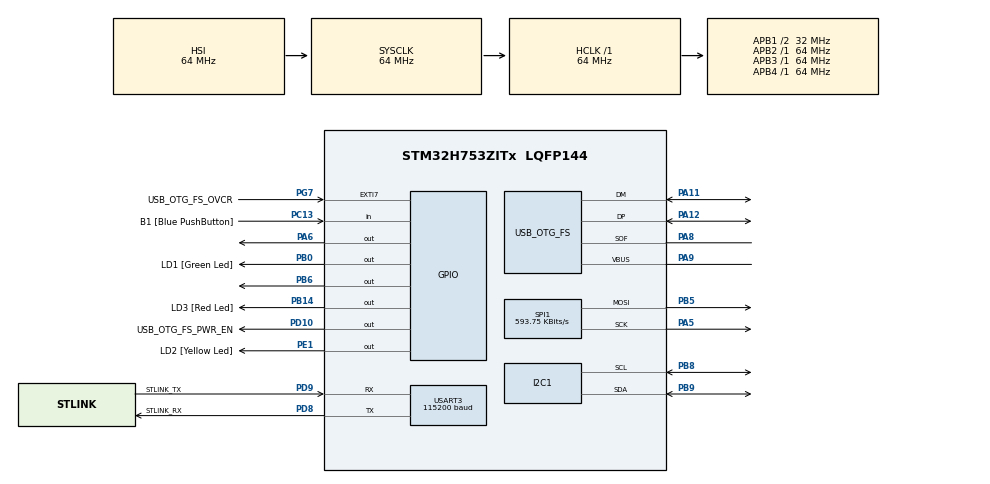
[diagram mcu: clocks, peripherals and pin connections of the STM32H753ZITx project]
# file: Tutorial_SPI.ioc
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CORTEX_M7.CPU_DCache=Disabled
CORTEX_M7.CPU_ICache=Disabled
CORTEX_M7.MPU_Control=__NULL
I2C1.Timing=0x00707CBB
Mcu.Family=STM32H7
Mcu.Name=STM32H753ZITx
Mcu.Package=LQFP144
NVIC.PriorityGroup=NVIC_PRIORITYGROUP_4
NVIC.USART3_IRQn=true\:1\:0\:true\:false\:true\:true\:true\:true
PA1.Signal=ETH_REF_CLK
PA11.Mode=Device_Only
PA11.Signal=USB_OTG_FS_DM
PA12.Mode=Device_Only
PA12.Signal=USB_OTG_FS_DP
PA2.Signal=ETH_MDIO
PA5.Mode=TX_Only_Simplex_Unidirect_Master
PA5.Signal=SPI1_SCK
PA6.Signal=GPIO_Output
PA8.Mode=Activate_SOF_FS
PA8.Signal=USB_OTG_FS_SOF
PA9.Mode=Activate_VBUS
PA9.Signal=USB_OTG_FS_VBUS
PB0.GPIO_Label=LD1 [Green Led]
PB0.Signal=GPIO_Output
PB13.Signal=ETH_TXD1
PB14.GPIO_Label=LD3 [Red Led]
PB14.Signal=GPIO_Output
PB5.Mode=TX_Only_Simplex_Unidirect_Master
PB5.Signal=SPI1_MOSI
PB6.Signal=GPIO_Output
PB8.GPIO_Pu=GPIO_PULLUP
PB8.GPIO_Speed=GPIO_SPEED_FREQ_VERY_HIGH
PB8.Mode=I2C
PB8.Signal=I2C1_SCL
PB9.GPIO_Pu=GPIO_PULLUP
PB9.GPIO_Speed=GPIO_SPEED_FREQ_VERY_HIGH
PB9.Mode=I2C
PB9.Signal=I2C1_SDA
PC1.Signal=ETH_MDC
PC13.GPIO_Label=B1 [Blue PushButton]
PC13.Signal=GPIO_Input
PC14-OSC32_IN\ (OSC32_IN).Mode=LSE-External-Oscillator
PC14-OSC32_IN\ (OSC32_IN).Signal=RCC_OSC32_IN
PC15-OSC32_OUT\ (OSC32_OUT).Mode=LSE-External-Oscillator
PC15-OSC32_OUT\ (OSC32_OUT).Signal=RCC_OSC32_OUT
PC4.Signal=ETH_RXD0
PC5.Signal=ETH_RXD1
PD10.GPIO_Label=USB_OTG_FS_PWR_EN
PD10.Signal=GPIO_Output
PD8.GPIO_Label=STLINK_RX
PD8.GPIO_PuPd=GPIO_NOPULL
PD8.GPIO_Speed=GPIO_SPEED_FREQ_HIGH
PD8.Mode=Asynchronous
PD8.Signal=USART3_TX
PD9.GPIO_Label=STLINK_TX
PD9.GPIO_PuPd=GPIO_NOPULL
PD9.GPIO_Speed=GPIO_SPEED_FREQ_HIGH
PD9.Mode=Asynchronous
PD9.Signal=USART3_RX
PE1.GPIO_Label=LD2 [Yellow Led]
PE1.Signal=GPIO_Output
PG11.Signal=ETH_TX_EN
PG13.Signal=ETH_TXD0
PG7.GPIO_Label=USB_OTG_FS_OVCR
PG7.Signal=GPXTI7
PH0-OSC_IN\ (PH0).Mode=HSE-External-Clock-Source
PH0-OSC_IN\ (PH0).Signal=RCC_OSC_IN
PH1-OSC_OUT\ (PH1).Signal=RCC_OSC_OUT
ProjectManager.HeapSize=0x200
ProjectManager.StackSize=0x400
ProjectManager.TargetToolchain=STM32CubeIDE
RCC.ADCFreq_Value=76000000
RCC.APB1Freq_Value=32000000
RCC.APB2Freq_Value=64000000
RCC.APB3Freq_Value=64000000
RCC.APB4Freq_Value=64000000
RCC.CortexFreq_Value=64000000
RCC.D2PPRE1=RCC_APB1_DIV2
RCC.DIVM1=1
RCC.DIVM2=1
RCC.DIVN1=19
RCC.DIVN2=19
RCC.DIVQ1=3
RCC.HCLKFreq_Value=64000000
RCC.HSE_VALUE=8000000
RCC.PLL2FRACN=0
RCC.PLLFRACN=0
RCC.SPI123CLockSelection=RCC_SPI123CLKSOURCE_PLL2
RCC.SYSCLKFreq_VALUE=64000000
RCC.USBFreq_Value=50666666.666666664
SPI1.BaudRatePrescaler=SPI_BAUDRATEPRESCALER_128
SPI1.CalculateBaudRate=593.75 KBits/s
SPI1.DataSize=SPI_DATASIZE_8BIT
SPI1.Direction=SPI_DIRECTION_2LINES_TXONLY
SPI1.Mode=SPI_MODE_MASTER
SPI1.VirtualType=VM_MASTER
USART3.AutoBaudRateEnableParam=UART_ADVFEATURE_AUTOBAUDRATE_DISABLE
USART3.BaudRate=115200
USART3.ClockPrescaler=PRESCALER_DIV1
USART3.DMADisableonRxErrorParam=ADVFEATURE_DMA_ENABLEONRXERROR
USART3.DataInvertParam=ADVFEATURE_DATAINV_DISABLE
USART3.FIFOMode=FIFOMODE_DISABLE
USART3.MSBFirstParam=ADVFEATURE_MSBFIRST_DISABLE
USART3.Mode=MODE_TX_RX
USART3.OneBitSampling=UART_ONE_BIT_SAMPLE_DISABLE
USART3.OverSampling=UART_OVERSAMPLING_16
USART3.OverrunDisableParam=ADVFEATURE_OVERRUN_ENABLE
USART3.Parity=PARITY_NONE
USART3.RXFIFOThreshold=RXFIFO_THRESHOLD_1EIGHTHFULL
USART3.RxPinLevelInvertParam=ADVFEATURE_RXINV_DISABLE
USART3.StopBits=STOPBITS_1
USART3.SwapParam=ADVFEATURE_SWAP_DISABLE
USART3.TXFIFOThreshold=TXFIFO_THRESHOLD_1EIGHTHFULL
USART3.TxPinLevelInvertParam=ADVFEATURE_TXINV_DISABLE
USART3.VirtualMode-Asynchronous=VM_ASYNC
USART3.WordLength=WORDLENGTH_8B
USB_OTG_FS.Sof_enable=ENABLE
USB_OTG_FS.VirtualMode=Device_Only
USB_OTG_FS.battery_charging_enable=ENABLE
USB_OTG_FS.low_power_enable=DISABLE
USB_OTG_FS.lpm_enable=DISABLE
USB_OTG_FS.use_dedicated_ep1=DISABLE
USB_OTG_FS.vbus_sensing_enable=ENABLE
VP_MEMORYMAP_VS_MEMORYMAP.Mode=CurAppReg
board=NUCLEO-H753ZI

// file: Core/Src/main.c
/* USER CODE BEGIN Header */
/**
  ******************************************************************************
  * @file           : main.c
  * @brief          : Main program body
  ******************************************************************************
  * @attention
  *
  * Copyright (c) 2024 STMicroelectronics.
  * All rights reserved.
  *
  * This software is licensed under terms that can be found in the LICENSE file
  * in the root directory of this software component.
  * If no LICENSE file comes with this software, it is provided AS-IS.
  *
  ******************************************************************************
  */
/* USER CODE END Header */
#include "main.h"

/* USER CODE BEGIN Includes */
#include "string.h"
#include <stdio.h>
#include <stdlib.h>
/* USER CODE END Includes */

/* USER CODE BEGIN PD */
#define PCF8591_ADDRESS 0x48 << 1
/* USER CODE END PD */

I2C_HandleTypeDef hi2c1;

SPI_HandleTypeDef hspi1;

UART_HandleTypeDef huart3;

PCD_HandleTypeDef hpcd_USB_OTG_FS;

void SystemClock_Config(void);
static void MX_GPIO_Init(void);
static void MX_USART3_UART_Init(void);
static void MX_USB_OTG_FS_PCD_Init(void);
static void MX_I2C1_Init(void);
static void MX_SPI1_Init(void);

/* USER CODE BEGIN 0 */

char command_buffer[6];

const uint8_t char_T[8] = {0xFF, 0x18, 0x18, 0x18, 0x18, 0x18, 0x18, 0x18};
const uint8_t char_V[8] = {0x81, 0x81, 0x42, 0x42, 0x24, 0x24, 0x18, 0x18};
const uint8_t char_L[8] = {0x80, 0x80, 0x80, 0x80, 0x80, 0x80, 0x80, 0xFF};

const uint8_t char_plus[8] = {0x00, 0x18, 0x18, 0x7E, 0x18, 0x18, 0x00, 0x00};
const uint8_t char_minus[8] = {0x00, 0x00, 0x00, 0x7E, 0x00, 0x00, 0x00, 0x00};

void MAX7219_SendData(uint8_t reg, uint8_t data) {
	uint8_t txData[2] = {reg, data};
	HAL_GPIO_WritePin(GPIOA, GPIO_PIN_6, GPIO_PIN_RESET);
	HAL_SPI_Transmit(&hspi1, txData, 2, HAL_MAX_DELAY);
	HAL_GPIO_WritePin(GPIOA, GPIO_PIN_6, GPIO_PIN_SET);
}

void MAX7219_init(void){
	MAX7219_SendData(0x09,0x00);
	MAX7219_SendData(0x0A,0x00);
	MAX7219_SendData(0x0B,0x07);
	MAX7219_SendData(0x0C,0x01);
	MAX7219_SendData(0x0F,0x00);

    for (int i = 1; i <= 8; i++) {
        MAX7219_SendData(i, 0x00);
    }
}

void Display_Char(const uint8_t *char_pattern) {
	MAX7219_init();
    for (int i = 0; i < 8; i++) {
    	MAX7219_SendData(i + 1, char_pattern[i]);
    }
}

void Display_Alternating(const uint8_t *char_pattern, const uint8_t *sign_pattern, uint16_t delay_ms) {
	for(int i = 0; i < 10; i++){
		Display_Char(char_pattern);
		HAL_Delay(delay_ms);
		Display_Char(sign_pattern);
		HAL_Delay(delay_ms);
	}
	for (int i = 1; i <= 8; i++) {
		MAX7219_SendData(i, 0x00);
	}
}

char * clean_command_buffer(char *command) {
    while (*command == '\r' || *command == '\n') {
        command++;
    }
    size_t len = strlen(command);
        while (len > 0 && command[len - 1] == '\r') {
            command[--len] = '\0';
        }

	return command;
}

uint8_t Read_PCF8591(uint8_t channel) {
    uint8_t command_ain;
    uint8_t data;

    switch (channel) {
        case 0: command_ain = 0x40; break;
        case 1: command_ain = 0x41; break;
        case 3: command_ain = 0x43; break;
        default: return 0xFF;
    }

    HAL_I2C_Master_Transmit(&hi2c1, (uint16_t)PCF8591_ADDRESS, &command_ain, 1, HAL_MAX_DELAY);
    HAL_I2C_Master_Receive(&hi2c1, (uint16_t)PCF8591_ADDRESS, &data, 1, HAL_MAX_DELAY);

    return data;
}

void process_command(char *command) {
    char msg[20];
    command = clean_command_buffer(command);

    if (strcmp(command, "Temp") == 0) {

        uint8_t temp = Read_PCF8591(0);
        sprintf(msg, "Temperature: %d\n", temp);
        HAL_UART_Transmit(&huart3, (uint8_t*)msg, strlen(msg), HAL_MAX_DELAY);

        if (temp < 128) {
			Display_Alternating(char_T, char_minus, 500);
		} else {
			Display_Alternating(char_T, char_plus, 500);
		}
    } else if (strcmp(command, "Volt") == 0) {

        uint8_t volt = Read_PCF8591(1);
        sprintf(msg, "Voltage: %d\n", volt);
        HAL_UART_Transmit(&huart3, (uint8_t*)msg, strlen(msg), HAL_MAX_DELAY);

        if (volt < 128) {
			Display_Alternating(char_V, char_minus, 500);
		} else {
			Display_Alternating(char_V, char_plus, 500);
		}
    } else if (strcmp(command, "LDR") == 0) {

        uint8_t ldr = Read_PCF8591(3);
        sprintf(msg, "Luminosity: %d\n", ldr);
        HAL_UART_Transmit(&huart3, (uint8_t*)msg, strlen(msg), HAL_MAX_DELAY);

        if (ldr < 128) {
			Display_Alternating(char_L, char_minus, 500);
		} else {
			Display_Alternating(char_L, char_plus, 500);
		}
    }
}

/* USER CODE END 0 */

int main(void)
{

  /* MCU Configuration--------------------------------------------------------*/

  /* Reset of all peripherals, Initializes the Flash interface and the Systick. */
  HAL_Init();

  /* Configure the system clock */
  SystemClock_Config();

  /* Initialize all configured peripherals */
  MX_GPIO_Init();
  MX_USART3_UART_Init();
  MX_USB_OTG_FS_PCD_Init();
  MX_I2C1_Init();
  MX_SPI1_Init();
  /* USER CODE BEGIN 2 */
  memset(command_buffer, 0, sizeof(command_buffer));
  /* USER CODE END 2 */

  /* Infinite loop */
  while (1)
  {
      HAL_UART_Receive_IT(&huart3, (uint8_t*)command_buffer, sizeof(command_buffer) - 1);

  }
}

void SystemClock_Config(void)
{
  RCC_OscInitTypeDef RCC_OscInitStruct = {0};
  RCC_ClkInitTypeDef RCC_ClkInitStruct = {0};

  /** Supply configuration update enable
  */
  HAL_PWREx_ConfigSupply(PWR_LDO_SUPPLY);

  /** Configure the main internal regulator output voltage
  */
  __HAL_PWR_VOLTAGESCALING_CONFIG(PWR_REGULATOR_VOLTAGE_SCALE3);

  while(!__HAL_PWR_GET_FLAG(PWR_FLAG_VOSRDY)) {}

  /** Initializes the RCC Oscillators according to the specified parameters
  * in the RCC_OscInitTypeDef structure.
  */
  RCC_OscInitStruct.OscillatorType = RCC_OSCILLATORTYPE_HSI|RCC_OSCILLATORTYPE_HSE;
  RCC_OscInitStruct.HSEState = RCC_HSE_BYPASS;
  RCC_OscInitStruct.HSIState = RCC_HSI_DIV1;
  RCC_OscInitStruct.HSICalibrationValue = RCC_HSICALIBRATION_DEFAULT;
  RCC_OscInitStruct.PLL.PLLState = RCC_PLL_ON;
  RCC_OscInitStruct.PLL.PLLSource = RCC_PLLSOURCE_HSE;
  RCC_OscInitStruct.PLL.PLLM = 1;
  RCC_OscInitStruct.PLL.PLLN = 19;
  RCC_OscInitStruct.PLL.PLLP = 2;
  RCC_OscInitStruct.PLL.PLLQ = 3;
  RCC_OscInitStruct.PLL.PLLR = 2;
  RCC_OscInitStruct.PLL.PLLRGE = RCC_PLL1VCIRANGE_3;
  RCC_OscInitStruct.PLL.PLLVCOSEL = RCC_PLL1VCOMEDIUM;
  RCC_OscInitStruct.PLL.PLLFRACN = 0;
  if (HAL_RCC_OscConfig(&RCC_OscInitStruct) != HAL_OK)
  {
    Error_Handler();
  }

  /** Initializes the CPU, AHB and APB buses clocks
  */
  RCC_ClkInitStruct.ClockType = RCC_CLOCKTYPE_HCLK|RCC_CLOCKTYPE_SYSCLK
                              |RCC_CLOCKTYPE_PCLK1|RCC_CLOCKTYPE_PCLK2
                              |RCC_CLOCKTYPE_D3PCLK1|RCC_CLOCKTYPE_D1PCLK1;
  RCC_ClkInitStruct.SYSCLKSource = RCC_SYSCLKSOURCE_HSI;
  RCC_ClkInitStruct.SYSCLKDivider = RCC_SYSCLK_DIV1;
  RCC_ClkInitStruct.AHBCLKDivider = RCC_HCLK_DIV1;
  RCC_ClkInitStruct.APB3CLKDivider = RCC_APB3_DIV1;
  RCC_ClkInitStruct.APB1CLKDivider = RCC_APB1_DIV2;
  RCC_ClkInitStruct.APB2CLKDivider = RCC_APB2_DIV1;
  RCC_ClkInitStruct.APB4CLKDivider = RCC_APB4_DIV1;

  if (HAL_RCC_ClockConfig(&RCC_ClkInitStruct, FLASH_LATENCY_1) != HAL_OK)
  {
    Error_Handler();
  }
}

static void MX_I2C1_Init(void)
{

  hi2c1.Instance = I2C1;
  hi2c1.Init.Timing = 0x00707CBB;
  hi2c1.Init.OwnAddress1 = 0;
  hi2c1.Init.AddressingMode = I2C_ADDRESSINGMODE_7BIT;
  hi2c1.Init.DualAddressMode = I2C_DUALADDRESS_DISABLE;
  hi2c1.Init.OwnAddress2 = 0;
  hi2c1.Init.OwnAddress2Masks = I2C_OA2_NOMASK;
  hi2c1.Init.GeneralCallMode = I2C_GENERALCALL_DISABLE;
  hi2c1.Init.NoStretchMode = I2C_NOSTRETCH_DISABLE;
  if (HAL_I2C_Init(&hi2c1) != HAL_OK)
  {
    Error_Handler();
  }

  /** Configure Analogue filter
  */
  if (HAL_I2CEx_ConfigAnalogFilter(&hi2c1, I2C_ANALOGFILTER_ENABLE) != HAL_OK)
  {
    Error_Handler();
  }

  /** Configure Digital filter
  */
  if (HAL_I2CEx_ConfigDigitalFilter(&hi2c1, 0) != HAL_OK)
  {
    Error_Handler();
  }

}

static void MX_SPI1_Init(void)
{

  /* SPI1 parameter configuration*/
  hspi1.Instance = SPI1;
  hspi1.Init.Mode = SPI_MODE_MASTER;
  hspi1.Init.Direction = SPI_DIRECTION_2LINES_TXONLY;
  hspi1.Init.DataSize = SPI_DATASIZE_8BIT;
  hspi1.Init.CLKPolarity = SPI_POLARITY_LOW;
  hspi1.Init.CLKPhase = SPI_PHASE_1EDGE;
  hspi1.Init.NSS = SPI_NSS_SOFT;
  hspi1.Init.BaudRatePrescaler = SPI_BAUDRATEPRESCALER_128;
  hspi1.Init.FirstBit = SPI_FIRSTBIT_MSB;
  hspi1.Init.TIMode = SPI_TIMODE_DISABLE;
  hspi1.Init.CRCCalculation = SPI_CRCCALCULATION_DISABLE;
  hspi1.Init.CRCPolynomial = 0x0;
  hspi1.Init.NSSPMode = SPI_NSS_PULSE_ENABLE;
  hspi1.Init.NSSPolarity = SPI_NSS_POLARITY_LOW;
  hspi1.Init.FifoThreshold = SPI_FIFO_THRESHOLD_01DATA;
  hspi1.Init.TxCRCInitializationPattern = SPI_CRC_INITIALIZATION_ALL_ZERO_PATTERN;
  hspi1.Init.RxCRCInitializationPattern = SPI_CRC_INITIALIZATION_ALL_ZERO_PATTERN;
  hspi1.Init.MasterSSIdleness = SPI_MASTER_SS_IDLENESS_00CYCLE;
  hspi1.Init.MasterInterDataIdleness = SPI_MASTER_INTERDATA_IDLENESS_00CYCLE;
  hspi1.Init.MasterReceiverAutoSusp = SPI_MASTER_RX_AUTOSUSP_DISABLE;
  hspi1.Init.MasterKeepIOState = SPI_MASTER_KEEP_IO_STATE_DISABLE;
  hspi1.Init.IOSwap = SPI_IO_SWAP_DISABLE;
  if (HAL_SPI_Init(&hspi1) != HAL_OK)
  {
    Error_Handler();
  }

}

static void MX_USART3_UART_Init(void)
{

  huart3.Instance = USART3;
  huart3.Init.BaudRate = 115200;
  huart3.Init.WordLength = UART_WORDLENGTH_8B;
  huart3.Init.StopBits = UART_STOPBITS_1;
  huart3.Init.Parity = UART_PARITY_NONE;
  huart3.Init.Mode = UART_MODE_TX_RX;
  huart3.Init.HwFlowCtl = UART_HWCONTROL_NONE;
  huart3.Init.OverSampling = UART_OVERSAMPLING_16;
  huart3.Init.OneBitSampling = UART_ONE_BIT_SAMPLE_DISABLE;
  huart3.Init.ClockPrescaler = UART_PRESCALER_DIV1;
  huart3.AdvancedInit.AdvFeatureInit = UART_ADVFEATURE_NO_INIT;
  if (HAL_UART_Init(&huart3) != HAL_OK)
  {
    Error_Handler();
  }
  if (HAL_UARTEx_SetTxFifoThreshold(&huart3, UART_TXFIFO_THRESHOLD_1_8) != HAL_OK)
  {
    Error_Handler();
  }
  if (HAL_UARTEx_SetRxFifoThreshold(&huart3, UART_RXFIFO_THRESHOLD_1_8) != HAL_OK)
  {
    Error_Handler();
  }
  if (HAL_UARTEx_DisableFifoMode(&huart3) != HAL_OK)
  {
    Error_Handler();
  }

}

static void MX_USB_OTG_FS_PCD_Init(void)
{

  hpcd_USB_OTG_FS.Instance = USB_OTG_FS;
  hpcd_USB_OTG_FS.Init.dev_endpoints = 9;
  hpcd_USB_OTG_FS.Init.speed = PCD_SPEED_FULL;
  hpcd_USB_OTG_FS.Init.dma_enable = DISABLE;
  hpcd_USB_OTG_FS.Init.phy_itface = PCD_PHY_EMBEDDED;
  hpcd_USB_OTG_FS.Init.Sof_enable = ENABLE;
  hpcd_USB_OTG_FS.Init.low_power_enable = DISABLE;
  hpcd_USB_OTG_FS.Init.lpm_enable = DISABLE;
  hpcd_USB_OTG_FS.Init.battery_charging_enable = ENABLE;
  hpcd_USB_OTG_FS.Init.vbus_sensing_enable = ENABLE;
  hpcd_USB_OTG_FS.Init.use_dedicated_ep1 = DISABLE;
  if (HAL_PCD_Init(&hpcd_USB_OTG_FS) != HAL_OK)
  {
    Error_Handler();
  }

}

static void MX_GPIO_Init(void)
{
  GPIO_InitTypeDef GPIO_InitStruct = {0};

  /* GPIO Ports Clock Enable */
  __HAL_RCC_GPIOC_CLK_ENABLE();
  __HAL_RCC_GPIOH_CLK_ENABLE();
  __HAL_RCC_GPIOA_CLK_ENABLE();
  __HAL_RCC_GPIOB_CLK_ENABLE();
  __HAL_RCC_GPIOD_CLK_ENABLE();
  __HAL_RCC_GPIOG_CLK_ENABLE();
  __HAL_RCC_GPIOE_CLK_ENABLE();

  /*Configure GPIO pin Output Level */
  HAL_GPIO_WritePin(GPIOA, GPIO_PIN_6, GPIO_PIN_RESET);

  /*Configure GPIO pin Output Level */
  HAL_GPIO_WritePin(GPIOB, LD1_Pin|LD3_Pin|GPIO_PIN_6, GPIO_PIN_RESET);

  /*Configure GPIO pin Output Level */
  HAL_GPIO_WritePin(USB_OTG_FS_PWR_EN_GPIO_Port, USB_OTG_FS_PWR_EN_Pin, GPIO_PIN_RESET);

  /*Configure GPIO pin Output Level */
  HAL_GPIO_WritePin(LD2_GPIO_Port, LD2_Pin, GPIO_PIN_RESET);

  /*Configure GPIO pin : B1_Pin */
  GPIO_InitStruct.Pin = B1_Pin;
  GPIO_InitStruct.Mode = GPIO_MODE_INPUT;
  GPIO_InitStruct.Pull = GPIO_NOPULL;
  HAL_GPIO_Init(B1_GPIO_Port, &GPIO_InitStruct);

  /*Configure GPIO pins : PC1 PC4 PC5 */
  GPIO_InitStruct.Pin = GPIO_PIN_1|GPIO_PIN_4|GPIO_PIN_5;
  GPIO_InitStruct.Mode = GPIO_MODE_AF_PP;
  GPIO_InitStruct.Pull = GPIO_NOPULL;
  GPIO_InitStruct.Speed = GPIO_SPEED_FREQ_LOW;
  GPIO_InitStruct.Alternate = GPIO_AF11_ETH;
  HAL_GPIO_Init(GPIOC, &GPIO_InitStruct);

  /*Configure GPIO pins : PA1 PA2 */
  GPIO_InitStruct.Pin = GPIO_PIN_1|GPIO_PIN_2;
  GPIO_InitStruct.Mode = GPIO_MODE_AF_PP;
  GPIO_InitStruct.Pull = GPIO_NOPULL;
  GPIO_InitStruct.Speed = GPIO_SPEED_FREQ_LOW;
  GPIO_InitStruct.Alternate = GPIO_AF11_ETH;
  HAL_GPIO_Init(GPIOA, &GPIO_InitStruct);

  /*Configure GPIO pin : PA6 */
  GPIO_InitStruct.Pin = GPIO_PIN_6;
  GPIO_InitStruct.Mode = GPIO_MODE_OUTPUT_PP;
  GPIO_InitStruct.Pull = GPIO_NOPULL;
  GPIO_InitStruct.Speed = GPIO_SPEED_FREQ_LOW;
  HAL_GPIO_Init(GPIOA, &GPIO_InitStruct);

  /*Configure GPIO pins : LD1_Pin LD3_Pin PB6 */
  GPIO_InitStruct.Pin = LD1_Pin|LD3_Pin|GPIO_PIN_6;
  GPIO_InitStruct.Mode = GPIO_MODE_OUTPUT_PP;
  GPIO_InitStruct.Pull = GPIO_NOPULL;
  GPIO_InitStruct.Speed = GPIO_SPEED_FREQ_LOW;
  HAL_GPIO_Init(GPIOB, &GPIO_InitStruct);

  /*Configure GPIO pin : PB13 */
  GPIO_InitStruct.Pin = GPIO_PIN_13;
  GPIO_InitStruct.Mode = GPIO_MODE_AF_PP;
  GPIO_InitStruct.Pull = GPIO_NOPULL;
  GPIO_InitStruct.Speed = GPIO_SPEED_FREQ_LOW;
  GPIO_InitStruct.Alternate = GPIO_AF11_ETH;
  HAL_GPIO_Init(GPIOB, &GPIO_InitStruct);

  /*Configure GPIO pin : USB_OTG_FS_PWR_EN_Pin */
  GPIO_InitStruct.Pin = USB_OTG_FS_PWR_EN_Pin;
  GPIO_InitStruct.Mode = GPIO_MODE_OUTPUT_PP;
  GPIO_InitStruct.Pull = GPIO_NOPULL;
  GPIO_InitStruct.Speed = GPIO_SPEED_FREQ_LOW;
  HAL_GPIO_Init(USB_OTG_FS_PWR_EN_GPIO_Port, &GPIO_InitStruct);

  /*Configure GPIO pin : USB_OTG_FS_OVCR_Pin */
  GPIO_InitStruct.Pin = USB_OTG_FS_OVCR_Pin;
  GPIO_InitStruct.Mode = GPIO_MODE_IT_RISING;
  GPIO_InitStruct.Pull = GPIO_NOPULL;
  HAL_GPIO_Init(USB_OTG_FS_OVCR_GPIO_Port, &GPIO_InitStruct);

  /*Configure GPIO pins : PG11 PG13 */
  GPIO_InitStruct.Pin = GPIO_PIN_11|GPIO_PIN_13;
  GPIO_InitStruct.Mode = GPIO_MODE_AF_PP;
  GPIO_InitStruct.Pull = GPIO_NOPULL;
  GPIO_InitStruct.Speed = GPIO_SPEED_FREQ_LOW;
  GPIO_InitStruct.Alternate = GPIO_AF11_ETH;
  HAL_GPIO_Init(GPIOG, &GPIO_InitStruct);

  /*Configure GPIO pin : LD2_Pin */
  GPIO_InitStruct.Pin = LD2_Pin;
  GPIO_InitStruct.Mode = GPIO_MODE_OUTPUT_PP;
  GPIO_InitStruct.Pull = GPIO_NOPULL;
  GPIO_InitStruct.Speed = GPIO_SPEED_FREQ_LOW;
  HAL_GPIO_Init(LD2_GPIO_Port, &GPIO_InitStruct);

}

/* USER CODE BEGIN 4 */
void HAL_UART_RxCpltCallback(UART_HandleTypeDef *huart){
	if(huart == &huart3){
		process_command(command_buffer);
		memset(command_buffer, 0, sizeof(command_buffer));
        HAL_UART_Receive_IT(&huart3, (uint8_t*)command_buffer, sizeof(command_buffer) - 1);
	}
}

/* USER CODE END 4 */

void Error_Handler(void)
{
  __disable_irq();
  while (1)
  {
  }
}
